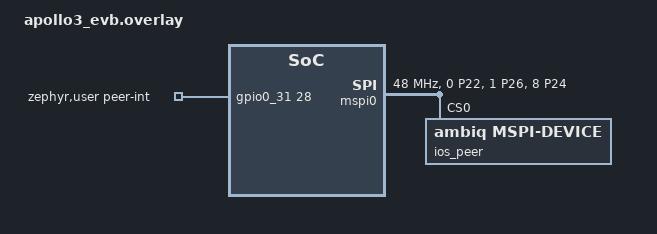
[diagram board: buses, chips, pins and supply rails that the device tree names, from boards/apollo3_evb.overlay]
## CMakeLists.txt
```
# Copyright (c) 2026 Ambiq Micro Inc. <www.ambiq.com>
# SPDX-License-Identifier: Apache-2.0

cmake_minimum_required(VERSION 3.20.0)

find_package(Zephyr REQUIRED HINTS $ENV{ZEPHYR_BASE})
project(apollo3_mspi_pair_controller)

target_sources(app PRIVATE src/main.c)
```

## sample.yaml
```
# Copyright (c) 2026 Ambiq Micro Inc. <www.ambiq.com>
# SPDX-License-Identifier: Apache-2.0

sample:
  name: Apollo3 MSPI controller paired with IOS peripheral
  description: >
    Drives the Apollo3 MSPI in single-bit single-rate mode against another
    Apollo3 EVB acting as an IOS SPI peripheral. Verifies a known data
    pattern can be written to and read back from the peripheral's LRAM.
tests:
  sample.boards.ambiq.apollo3_mspi_pair.controller:
    tags:
      - drivers
      - mspi
      - samples
    filter: dt_compat_enabled("ambiq,mspi-controller")
    platform_allow:
      - apollo3_evb
    integration_platforms:
      - apollo3_evb
    harness: console
    harness_config:
      type: one_line
      regex:
        - "apollo3_mspi_pair_controller: PASS"
```

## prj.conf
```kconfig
# Copyright (c) 2026 Ambiq Micro Inc. <www.ambiq.com>
# SPDX-License-Identifier: Apache-2.0

CONFIG_STDOUT_CONSOLE=y
CONFIG_LOG=y
CONFIG_LOG_DEFAULT_LEVEL=3

CONFIG_MSPI=y
CONFIG_MSPI_AMBIQ_CONTROLLER=y
CONFIG_MSPI_INIT_PRIORITY=40

CONFIG_GPIO=y
```

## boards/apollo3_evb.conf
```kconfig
# Copyright (c) 2026 Ambiq Micro Inc. <www.ambiq.com>
# SPDX-License-Identifier: Apache-2.0

CONFIG_HEAP_MEM_POOL_SIZE=4096
```

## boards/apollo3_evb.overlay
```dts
/*
 * Copyright (c) 2026 Ambiq Micro Inc. <www.ambiq.com>
 * SPDX-License-Identifier: Apache-2.0
 *
 * Apollo3 EVB acting as the MSPI bus controller. The MSPI peripheral runs in
 * single-bit single-rate (i.e. classic 4-wire SPI) mode so that it can drive a
 * second Apollo3 EVB whose IOS block is configured as a SPI peripheral.
 *
 * Wiring (controller -> peripheral):
 *   MSPI0_SCK  P24  ->  SLSCK   P0
 *   MSPI0_D0   P22  ->  SLMOSI  P1     (controller MOSI)
 *   MSPI0_D1   P26  <-  SLMISO  P2     (controller MISO)
 *   NCE19      P19  ->  SLNCE   P3
 *   GPIO_P28        <-  SLINT   P4     (peripheral data-ready interrupt)
 *   GND             <-> GND
 */

/ {
	aliases {
		mspi-peer = &ios_peer;
	};

	zephyr,user {
		peer-int-gpios = <&gpio0_31 28 GPIO_ACTIVE_HIGH>;
	};
};

&pinctrl {
	mspi0_peer: mspi0_peer {
		group1 {
			pinmux = <MSPI0_0_P22>,
				 <MSPI0_1_P26>,
				 <MSPI0_8_P24>;
			drive-strength = "0.75";
			ambiq,iom-mspi = <0>;
			ambiq,iom-num = <0>;
		};

		group2 {
			pinmux = <NCE19_P19>;
			drive-push-pull;
			drive-strength = "0.5";
			ambiq,iom-mspi = <0>;
			ambiq,nce-src = <0>;
			ambiq,iom-num = <6>;
		};
	};
};

&mspi0 {
	compatible = "ambiq,mspi-controller";
	pinctrl-0 = <&mspi0_peer>;
	pinctrl-1 = <&mspi0_sleep>;
	pinctrl-names = "default", "sleep";
	status = "okay";

	clock-frequency = <48000000>;

	ce-gpios = <&gpio0_31 19 GPIO_ACTIVE_LOW>;

	cmdq-buffer-location = ".mspi_buff";
	cmdq-buffer-size = <256>;

	ios_peer: ios_peer@0 {
		compatible = "ambiq,mspi-device";
		status = "okay";
		reg = <0>;
		mspi-max-frequency = <1000000>;
		mspi-io-mode = "MSPI_IO_MODE_SINGLE";
		mspi-data-rate = "MSPI_DATA_RATE_SINGLE";
		mspi-cpp-mode = "MSPI_CPP_MODE_0";
		mspi-endian = "MSPI_BIG_ENDIAN";
		mspi-ce-polarity = "MSPI_CE_ACTIVE_LOW";
		mspi-hardware-ce-num = <0>;
		read-command = <0x00>;
		write-command = <0x80>;
		command-length = "INSTR_1_BYTE";
		address-length = "ADDR_DISABLED";
		rx-dummy = <0>;
		tx-dummy = <0>;
		ce-break-config = <0 0>;
		ambiq,timing-config-mask = <0>;
	};
};
```

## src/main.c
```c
/*
 * Copyright (c) 2026 Ambiq Micro Inc. <www.ambiq.com>
 * SPDX-License-Identifier: Apache-2.0
 *
 * Apollo3 MSPI bus-controller sample (paired with apollo3_mspi_pair_peripheral
 * running on a second EVB). Drives MSPI0 in single-bit single-rate mode and
 * exchanges a known data pattern with the peripheral via the IOS register
 * protocol (1-byte command = R/W flag in bit7 + 7-bit LRAM offset).
 */

#include <zephyr/kernel.h>
#include <zephyr/device.h>
#include <zephyr/devicetree.h>
#include <zephyr/drivers/gpio.h>
#include <zephyr/drivers/mspi.h>
#include <zephyr/logging/log.h>
#include <string.h>

LOG_MODULE_REGISTER(apollo3_mspi_pair_controller, LOG_LEVEL_INF);

#define MSPI_BUS    DT_BUS(DT_ALIAS(mspi_peer))
#define MSPI_TARGET DT_ALIAS(mspi_peer)

#define LRAM_OFFSET 0x00
#define PAYLOAD_LEN 16

static const struct gpio_dt_spec peer_int =
	GPIO_DT_SPEC_GET(DT_PATH(zephyr_user), peer_int_gpios);

static uint8_t tx_buf[PAYLOAD_LEN];
static uint8_t rx_buf[PAYLOAD_LEN];

static int do_write(const struct device *bus, const struct mspi_dev_id *id)
{
	struct mspi_xfer_packet pkt = {
		.dir       = MSPI_TX,
		.cmd       = 0x80 | LRAM_OFFSET, /* IOS write flag + offset */
		.address   = 0,
		.num_bytes = PAYLOAD_LEN,
		.data_buf  = tx_buf,
		.cb_mask   = MSPI_BUS_NO_CB,
	};
	struct mspi_xfer xfer = {
		.async       = false,
		.xfer_mode   = MSPI_PIO,
		.cmd_length  = 1,
		.addr_length = 0,
		.priority    = 1,
		.packets     = &pkt,
		.num_packet  = 1,
		.timeout     = 1000,
	};

	return mspi_transceive(bus, id, &xfer);
}

static int do_read(const struct device *bus, const struct mspi_dev_id *id)
{
	struct mspi_xfer_packet pkt = {
		.dir       = MSPI_RX,
		.cmd       = 0x00 | LRAM_OFFSET, /* IOS read flag + offset */
		.address   = 0,
		.num_bytes = PAYLOAD_LEN,
		.data_buf  = rx_buf,
		.cb_mask   = MSPI_BUS_NO_CB,
	};
	struct mspi_xfer xfer = {
		.async       = false,
		.xfer_mode   = MSPI_PIO,
		.cmd_length  = 1,
		.addr_length = 0,
		.priority    = 1,
		.packets     = &pkt,
		.num_packet  = 1,
		.timeout     = 1000,
	};

	return mspi_transceive(bus, id, &xfer);
}

static int wait_peer_ready(k_timeout_t timeout)
{
	int64_t deadline = k_uptime_get() + k_ticks_to_ms_floor64(timeout.ticks);

	while (k_uptime_get() < deadline) {
		if (gpio_pin_get_dt(&peer_int) == 1) {
			return 0;
		}
		k_msleep(1);
	}
	return -ETIMEDOUT;
}

int main(void)
{
	const struct device *bus = DEVICE_DT_GET(MSPI_BUS);
	struct mspi_dev_id id = MSPI_DEVICE_ID_DT(MSPI_TARGET);
	int ret;

	if (!device_is_ready(bus)) {
		LOG_ERR("MSPI bus not ready");
		return -ENODEV;
	}

	if (!gpio_is_ready_dt(&peer_int)) {
		LOG_ERR("Peer INT GPIO not ready");
		return -ENODEV;
	}
	(void)gpio_pin_configure_dt(&peer_int, GPIO_INPUT);

	ret = mspi_dev_config(bus, &id, MSPI_DEVICE_CONFIG_ALL, NULL);
	if (ret) {
		LOG_ERR("mspi_dev_config failed: %d", ret);
		return ret;
	}

	for (int i = 0; i < PAYLOAD_LEN; i++) {
		tx_buf[i] = (uint8_t)(0xA0 + i);
	}

	LOG_INF("Writing %d bytes to peripheral LRAM offset 0x%02x", PAYLOAD_LEN, LRAM_OFFSET);
	ret = do_write(bus, &id);
	if (ret) {
		LOG_ERR("write transceive failed: %d", ret);
		return ret;
	}

	/* Give the peripheral time to populate response buffer. */
	if (wait_peer_ready(K_MSEC(500)) != 0) {
		LOG_WRN("Peer INT not asserted within timeout, reading anyway");
	}

	LOG_INF("Reading %d bytes back from peripheral LRAM offset 0x%02x",
		PAYLOAD_LEN, LRAM_OFFSET);
	memset(rx_buf, 0, sizeof(rx_buf));
	ret = do_read(bus, &id);
	if (ret) {
		LOG_ERR("read transceive failed: %d", ret);
		return ret;
	}

	bool match = true;
	for (int i = 0; i < PAYLOAD_LEN; i++) {
		/* Peripheral echoes back ~tx_buf[i] (one's complement) so we can
		 * tell echo from a stuck bus.
		 */
		uint8_t expected = (uint8_t)~tx_buf[i];

		if (rx_buf[i] != expected) {
			LOG_ERR("byte %d: got 0x%02x, expected 0x%02x",
				i, rx_buf[i], expected);
			match = false;
		}
	}

	if (match) {
		printk("apollo3_mspi_pair_controller: PASS\n");
	} else {
		printk("apollo3_mspi_pair_controller: FAIL\n");
	}
	return match ? 0 : -EIO;
}
```
